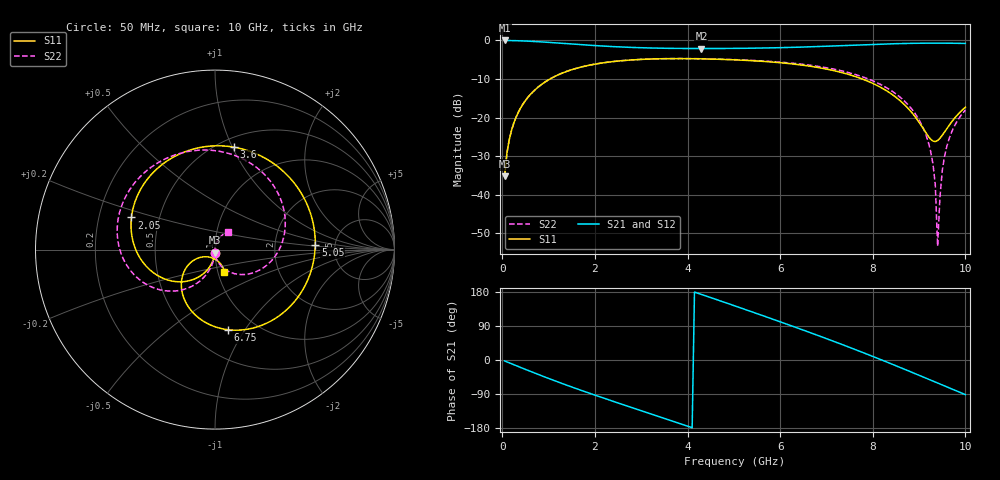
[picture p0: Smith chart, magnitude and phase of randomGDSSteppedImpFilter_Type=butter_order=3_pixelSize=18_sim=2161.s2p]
! freq	dB(S11)	phase(S11)	dB(S12)	phase(S12)
!  dB(S21)	phase(S21)	dB(S22)	phase(S22)
!S-par simulation data
#  GHz  S  DB  R 50
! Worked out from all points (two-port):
!   200 points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, 50 MHz to 10 GHz, reference 50 ohm
!   highest |S21| = 0.00 dB at 50 MHz (marker M1); lowest = -2.1 dB at 4.3 GHz (marker M2)
!   |S21| within 3 dB of the highest: start of sweep to end of sweep
!   lowest |S11| = -35.2 dB at 50 MHz (marker M3), VSWR 1.04, Z = 49.9 - j1.72 ohm
!   |S11| at or under -10 dB: start of sweep to 1.03 GHz; 7.773 GHz to end of sweep
!   |S22| runs from -53.4 to -4.7 dB; largest |S21 - S12| = 0
!   S11 on the Smith chart (normalised r, x): 50 MHz: 1.00, -0.03; 2.05 GHz: 0.34, +0.16; 3.6 GHz: 0.59, +1.01; 5.05 GHz: 3.52, +0.26; 6.75 GHz: 0.75, -0.84; 10 GHz: 1.07, -0.28
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0.05  -35.24 -92.9  -0.00 -2.5  -0.00 -2.5  -35.24 -92.2
0.2  -23.29 -101.8  -0.04 -10.0  -0.04 -10.0  -23.28 -99.1
0.5  -15.59 -118.9  -0.15 -24.8  -0.15 -24.8  -15.58 -111.9
1.1  -9.54 -151.7  -0.58 -53.3  -0.58 -53.3  -9.53 -136.1
1.75  -6.76 174.3  -1.13 -82.1  -1.13 -82.1  -6.76 -159.8
2.05  -6.04 159.0  -1.37 -94.8  -1.37 -94.8  -6.04 -169.9
3.4  -4.76 90.0  -2.01 -149.9  -2.01 -149.9  -4.75 149.0
3.6  -4.73 79.5  -2.05 -158.1  -2.05 -158.1  -4.71 143.3
4.3  -4.77 42.4  -2.10 173.1  -2.10 173.1  -4.75 123.3
5.05  -5.05 2.6  -2.06 141.6  -2.06 141.6  -4.99 101.0
5.9  -5.67 -40.6  -1.90 105.2  -1.90 105.2  -5.54 73.0
6.7  -6.79 -78.4  -1.63 70.0  -1.63 70.0  -6.51 42.5
6.75  -6.88 -80.6  -1.61 67.7  -1.61 67.7  -6.60 40.4
7.65  -9.47 -119.0  -1.19 26.2  -1.19 26.2  -8.93 0.0
8.35  -13.46 -144.4  -0.89 -7.7  -0.89 -7.7  -12.64 -35.3
8.9  -19.57 -153.4  -0.74 -35.2  -0.74 -35.2  -18.72 -65.1
9.2  -24.89 -134.6  -0.70 -50.5  -0.70 -50.5  -26.43 -81.9
9.35  -26.23 -107.4  -0.70 -58.1  -0.70 -58.1  -37.40 -90.8
9.4  -25.96 -97.7  -0.70 -60.7  -0.70 -60.7  -53.37 -97.4
9.45  -25.38 -89.1  -0.70 -63.2  -0.70 -63.2  -40.77 85.3
9.55  -23.74 -76.8  -0.71 -68.3  -0.71 -68.3  -30.04 78.9
10  -17.32 -67.5  -0.78 -91.4  -0.78 -91.4  -18.06 53.6
